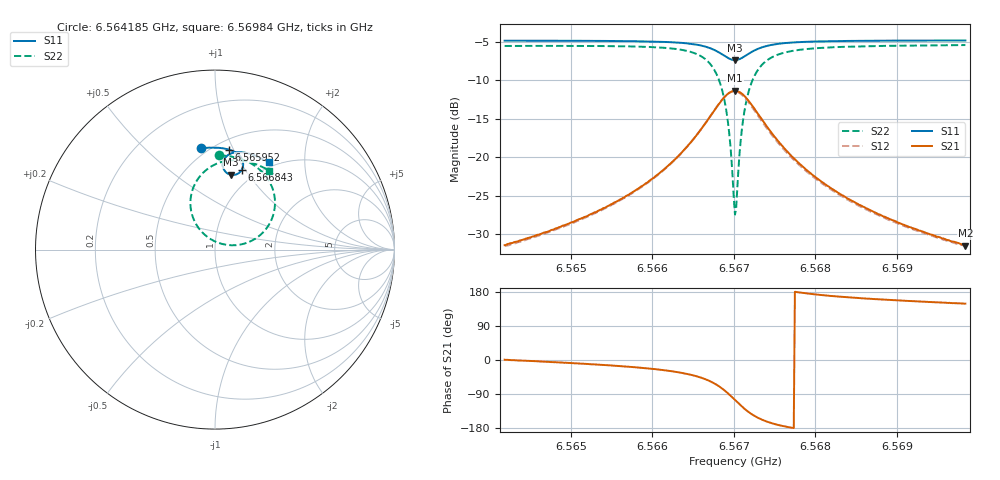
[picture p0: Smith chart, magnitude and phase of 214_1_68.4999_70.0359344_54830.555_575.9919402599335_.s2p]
#  HZ  S  RI  R  50.00
! Rohde & Schwarz Vector Network Analyzer
! Rohde-Schwarz,ZNB20-2Port,1311601062101988,3.16
! Created: UTC 3/20/2024, 4:58:09 PM
! freq[Hz]  re:S11  im:S11  re:S21  im:S21  re:S12  im:S12  re:S22  im:S22
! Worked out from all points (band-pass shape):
!   401 points, 6.564185 GHz to 6.56984 GHz, reference 50 ohm
!   highest |S21| = -11.39 dB at 6.567013 GHz (marker M1); lowest = -31.5 dB at 6.56984 GHz (marker M2)
!   |S21| within 3 dB of the highest: 6.566729 GHz to 6.567295 GHz (566.1 kHz wide, 0.00862 % of centre)
!   lowest |S11| = -7.4 dB at 6.567013 GHz (marker M3), VSWR 2.48, Z = 40.7 + j41.4 ohm
!   |S11| at or under -10 dB: nowhere
!   |S22| runs from -27.4 to -5.5 dB; largest |S21 - S12| = 0.012
!   S11 on the Smith chart (normalised r, x): 6.564185 GHz: 0.46, +0.76; 6.565952 GHz: 0.59, +0.96; 6.566843 GHz: 0.85, +0.96; 6.56984 GHz: 0.93, +1.34
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6.5641853e9  -0.0758 0.564  0.0269 0.000334  0.0265 -0.000189  0.024 0.5256
6.5651325e9  0.00109 0.5681  0.0397 -0.00666  0.0389 -0.00726  0.1118 0.5143
6.5659524e9  0.076 0.5575  0.0645 -0.0264  0.0634 -0.0272  0.2133 0.4726
6.5660796e9  0.0891 0.5533  0.0709 -0.0335  0.0699 -0.0344  0.2339 0.4581
6.5663906e9  0.1242 0.5348  0.0913 -0.0646  0.0899 -0.0659  0.2923 0.3967
6.5666168e9  0.1497 0.5047  0.1049 -0.1169  0.1024 -0.1192  0.3318 0.2957
6.5667441e9  0.1569 0.4745  0.0977 -0.1696  0.0935 -0.1727  0.325 0.1951
6.566843e9  0.1488 0.444  0.0661 -0.2216  0.059 -0.2246  0.2693 0.0974
6.5668854e9  0.1389 0.4315  0.041 -0.2425  0.032 -0.2444  0.2231 0.0597
6.5669278e9  0.1245 0.4215  0.00782 -0.2581  -0.00264 -0.258  0.1625 0.033
6.5669985e9  0.094 0.4158  -0.0589 -0.2627  -0.0699 -0.2579  0.0439 0.0305
6.5670127e9  0.0875 0.4168  -0.0723 -0.2595  -0.0833 -0.2538  0.0203 0.0373
6.5670409e9  0.0754 0.4211  -0.0981 -0.2493  -0.1081 -0.242  -0.0239 0.0581
6.5670834e9  0.06 0.432  -0.1311 -0.2261  -0.1389 -0.2165  -0.078 0.1035
6.5671258e9  0.0495 0.4464  -0.1546 -0.1968  -0.1597 -0.1861  -0.1141 0.158
6.5671823e9  0.0433 0.4671  -0.171 -0.1555  -0.1729 -0.145  -0.1355 0.232
6.567253e9  0.0457 0.4905  -0.1734 -0.1099  -0.1728 -0.101  -0.1312 0.3114
6.5673661e9  0.0607 0.5163  -0.1578 -0.0591  -0.1552 -0.053  -0.0927 0.3973
6.5675075e9  0.0839 0.5331  -0.1316 -0.0244  -0.1287 -0.0206  -0.0355 0.4538
6.5679598e9  0.1446 0.5427  -0.0767 0.00813  -0.0749 0.00939  0.0918 0.4981
6.568907e9  0.2308 0.5207  -0.0371 0.0146  -0.0362 0.0148  0.2215 0.4787
6.5698401e9  0.2988 0.4866  -0.0229 0.0138  -0.0225 0.0141  0.3006 0.4405
